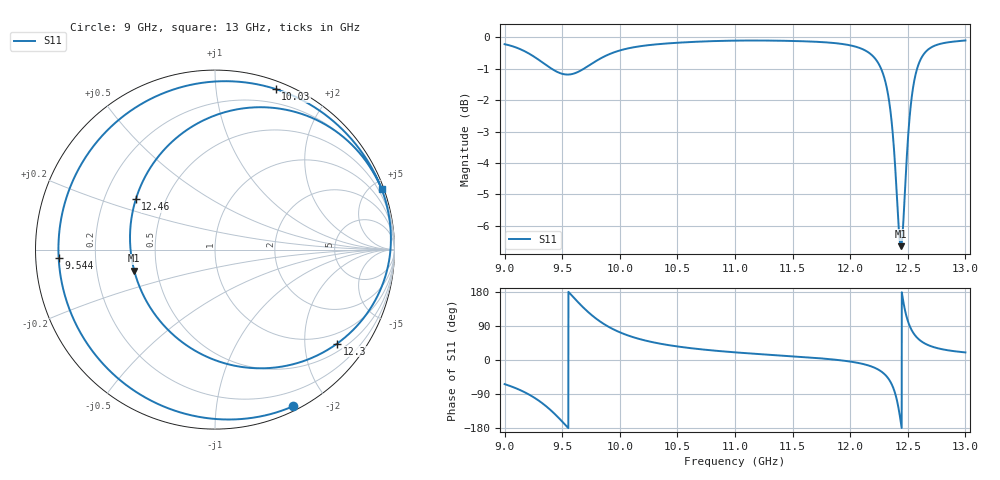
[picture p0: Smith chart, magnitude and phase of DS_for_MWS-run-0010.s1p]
! TOUCHSTONE file generated by CST DESIGN STUDIO
! Date and time: Tue Feb  4 12:51:40 2025
! Project name: C:\Work\MatlabApps\UnitCellOptimizationMatlab\CST\unitcell.cst
! Tree item: Tasks\Sweep1\SPara1\S-Parameters
! Header version: 2024
! Port assignment regex: !\s*Touchstone port\s*([0-9]+)\s*=\s*(CST MWS port|CST DES external port|CST DES block port)\s*(.+)\s* \(\"(.*)\"\)(\s*mode\s*([0-9]+))?.*
! Touchstone port assignment:
! Touchstone port 1 = CST DES external port 1 ("")
# GHz S MA R 50
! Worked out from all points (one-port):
!   4001 points, 9 GHz to 13 GHz, reference 50 ohm
!   lowest |S11| = -6.6 dB at 12.44 GHz (marker M1), VSWR 2.74, Z = 18.5 - j5.55 ohm
!   |S11| at or under -10 dB: nowhere
!   S11 on the Smith chart (normalised r, x): 9 GHz: 0.05, -1.61; 9.544 GHz: 0.07, -0.03; 10.03 GHz: 0.07, +1.45; 12.3 GHz: 0.70, -2.78; 12.46 GHz: 0.34, +0.26; 13 GHz: 0.19, +5.65
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9  0.975 -63.7
9.293  0.9217 -106.5
9.396  0.8941 -131.3
9.5  0.8747 -162.4
9.544  0.8723 -176.8
9.637  0.8807 152.7
9.757  0.9079 118.2
9.862  0.9314 95.0
10  0.9529 73.1
10.031  0.9563 69.3
10.232  0.9708 50.6
10.5  0.9802 35.7
11  0.9878 20.2
11.5  0.9866 9.7
12  0.9709 -4.1
12.194  0.9345 -18.2
12.299  0.8584 -37.6
12.343  0.7795 -54.4
12.384  0.6486 -82.1
12.411  0.5352 -113.7
12.44  0.4651 -165.4
12.465  0.5228 147.6
12.5  0.684 103.4
12.53  0.7917 80.9
12.569  0.8749 62.8
12.651  0.9462 43.0
12.778  0.9759 29.7
13  0.9885 20.0
